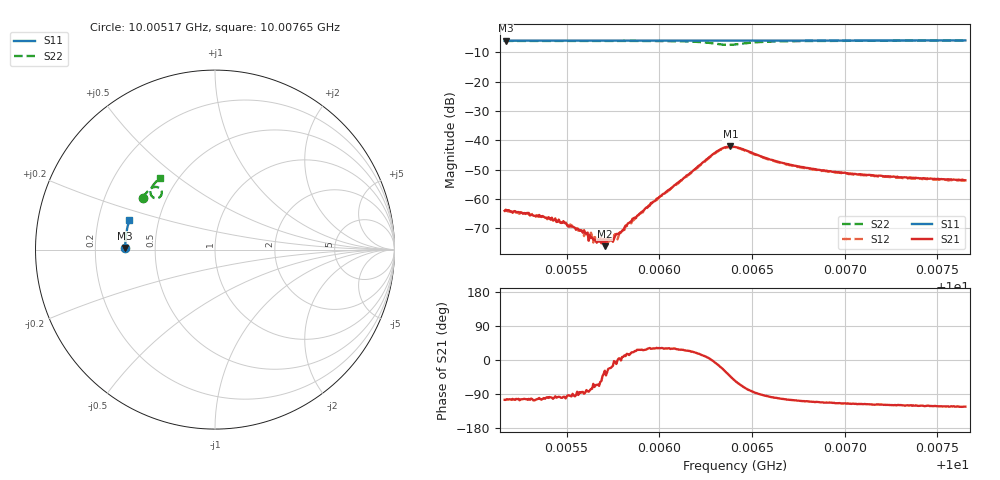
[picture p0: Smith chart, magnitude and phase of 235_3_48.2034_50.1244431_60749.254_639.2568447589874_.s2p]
#  HZ  S  RI  R  50.00
! Rohde & Schwarz Vector Network Analyzer
! Rohde-Schwarz,ZNB20-2Port,1311601062101988,3.16
! Created: UTC 3/20/2024, 11:46:37 AM
! freq[Hz]  re:S11  im:S11  re:S21  im:S21  re:S12  im:S12  re:S22  im:S22
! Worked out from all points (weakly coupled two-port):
!   401 points, 10.00517 GHz to 10.00765 GHz, reference 50 ohm
!   highest |S21| = -42.06 dB at 10.00638 GHz (marker M1); lowest = -76.0 dB at 10.00571 GHz (marker M2)
!   lowest |S11| = -6.0 dB at 10.00517 GHz (marker M3), VSWR 3.00, Z = 16.7 + j0.389 ohm
!   |S11| at or under -10 dB: nowhere
!   |S22| runs from -7.4 to -6.0 dB; largest |S21 - S12| = 0.00047
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1.0005166e10  -0.5 0.00842  -0.000165 -0.000609  -0.000135 -0.00065  -0.403 0.2878
1.0005172e10  -0.5 0.00875  -0.000173 -0.000636  -0.000137 -0.000611  -0.4029 0.2881
1.0005284e10  -0.5 0.0161  -0.000134 -0.000562  -9.12e-05 -0.000554  -0.3985 0.2948
1.0005446e10  -0.4999 0.0266  -6.7e-05 -0.000402  -5.61e-05 -0.000415  -0.3917 0.3045
1.0005533e10  -0.4998 0.0323  4.23e-06 -0.000341  -4.82e-06 -0.000345  -0.3878 0.3095
1.0005582e10  -0.4997 0.0355  2.81e-05 -0.000284  4.18e-05 -0.000288  -0.3855 0.3127
1.000562e10  -0.4996 0.0379  2.15e-05 -0.000194  7.1e-05 -0.000242  -0.3836 0.3148
1.0005651e10  -0.4996 0.0399  6.56e-05 -0.000193  7.51e-05 -0.000212  -0.3821 0.3168
1.0005707e10  -0.4991 0.0434  0.000139 -7.45e-05  0.000146 -0.000103  -0.3791 0.3204
1.0005731e10  -0.4991 0.0452  0.000189 -7.52e-05  0.000182 -5.91e-05  -0.3778 0.3219
1.000575e10  -0.499 0.0463  0.000181 -4.95e-05  0.000195 -3.76e-05  -0.3767 0.3231
1.0005781e10  -0.499 0.0484  0.000253 1.76e-05  0.000238 1.75e-05  -0.3748 0.3251
1.0005831e10  -0.4986 0.0516  0.000371 0.000104  0.000348 0.000112  -0.3717 0.3283
1.0005998e10  -0.4978 0.0624  0.000908 0.000562  0.000894 0.000584  -0.3587 0.3396
1.0006297e10  -0.495 0.0816  0.006 -0.00055  0.0059 -0.000222  -0.3006 0.3324
1.0006346e10  -0.4945 0.0846  0.00674 -0.00323  0.00673 -0.00283  -0.2978 0.3074
1.0006384e10  -0.4942 0.0867  0.00572 -0.00543  0.0059 -0.00502  -0.3106 0.2908
1.0006408e10  -0.4941 0.0881  0.00447 -0.00632  0.00469 -0.00598  -0.3233 0.2862
1.0006638e10  -0.4923 0.1028  -0.000809 -0.00427  -0.000576 -0.00422  -0.3591 0.3285
1.0006825e10  -0.49 0.1148  -0.00114 -0.00308  -0.00095 -0.00306  -0.351 0.349
1.0007241e10  -0.4842 0.1411  -0.00117 -0.00213  -0.00104 -0.00213  -0.3296 0.3763
1.0007651e10  -0.4769 0.1664  -0.00114 -0.00175  -0.00104 -0.00176  -0.3086 0.3968
